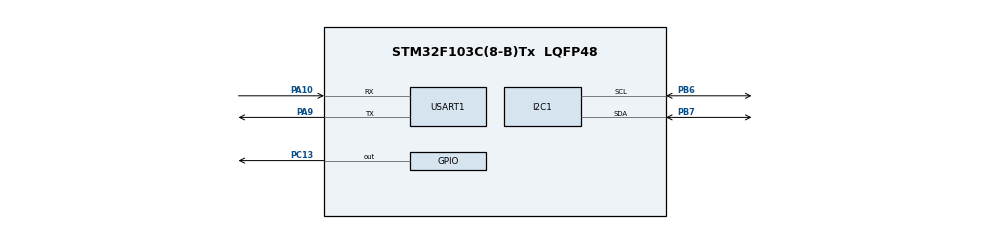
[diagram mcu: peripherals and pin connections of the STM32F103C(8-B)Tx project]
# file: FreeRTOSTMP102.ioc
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FREERTOS.BinarySemaphores01=myBinarySem01,Dynamic,NULL
FREERTOS.Queues01=myQueue01,16,queueItem_t,0,Dynamic,NULL,NULL
FREERTOS.Tasks01=ReadTemp,24,128,readTempTask,Default,NULL,Dynamic,NULL,NULL;WriteTemp,23,128,writeTempTask,Default,NULL,Dynamic,NULL,NULL
Mcu.Family=STM32F1
Mcu.Name=STM32F103C(8-B)Tx
Mcu.Package=LQFP48
NVIC.PriorityGroup=NVIC_PRIORITYGROUP_4
NVIC.TIM2_IRQn=true\:5\:0\:false\:false\:true\:true\:true\:true
NVIC.TIM3_IRQn=true\:0\:0\:false\:false\:true\:false\:false\:true
NVIC.TimeBase=TIM3_IRQn
NVIC.TimeBaseIP=TIM3
PA10.Mode=Asynchronous
PA10.Signal=USART1_RX
PA9.Mode=Asynchronous
PA9.Signal=USART1_TX
PB6.Mode=I2C
PB6.Signal=I2C1_SCL
PB7.Mode=I2C
PB7.Signal=I2C1_SDA
PC13-TAMPER-RTC.Signal=GPIO_Output
ProjectManager.HeapSize=0x200
ProjectManager.StackSize=0x400
ProjectManager.TargetToolchain=STM32CubeIDE
RCC.APB1Freq_Value=8000000
RCC.APB2Freq_Value=8000000
TIM2.Period=100 - 1
TIM2.Prescaler=8000 - 1
USART1.VirtualMode=VM_ASYNC
VP_FREERTOS_VS_CMSIS_V2.Mode=CMSIS_V2
VP_SYS_VS_ND.Mode=No_Debug
VP_SYS_VS_tim3.Mode=TIM3
VP_TIM2_VS_ClockSourceINT.Mode=Internal
board=custom

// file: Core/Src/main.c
/* USER CODE BEGIN Header */
/**
 ******************************************************************************
 * @file           : main.c
 * @brief          : Main program body
 ******************************************************************************
 * @attention
 *
 * <h2><center>&copy; Copyright (c) 2021 STMicroelectronics.
 * All rights reserved.</center></h2>
 *
 * This software component is licensed by ST under BSD 3-Clause license,
 * the "License"; You may not use this file except in compliance with the
 * License. You may obtain a copy of the License at:
 *                        opensource.org/licenses/BSD-3-Clause
 *
 ******************************************************************************
 */
/* USER CODE END Header */
#include "main.h"
#include "cmsis_os.h"

/* USER CODE BEGIN Includes */
#include <string.h>
#include <stdio.h>
/* USER CODE END Includes */

/* USER CODE BEGIN PTD */
typedef struct {
	HAL_StatusTypeDef halStatus;
	int16_t value;
} queueItem_t;
/* USER CODE END PTD */

I2C_HandleTypeDef hi2c1;

TIM_HandleTypeDef htim2;

UART_HandleTypeDef huart1;

/* Definitions for ReadTemp */
osThreadId_t ReadTempHandle;
const osThreadAttr_t ReadTemp_attributes = { .name = "ReadTemp", .priority =
		(osPriority_t) osPriorityNormal, .stack_size = 128 * 4 };
/* Definitions for WriteTemp */
osThreadId_t WriteTempHandle;
const osThreadAttr_t WriteTemp_attributes = { .name = "WriteTemp", .priority =
		(osPriority_t) osPriorityBelowNormal7, .stack_size = 128 * 4 };
/* Definitions for myQueue01 */
osMessageQueueId_t myQueue01Handle;
const osMessageQueueAttr_t myQueue01_attributes = { .name = "myQueue01" };
/* Definitions for myBinarySem01 */
osSemaphoreId_t myBinarySem01Handle;
const osSemaphoreAttr_t myBinarySem01_attributes = { .name = "myBinarySem01" };
/* USER CODE BEGIN PV */
static const uint8_t TMP102_I2C_ADDR = 0x48 << 1;
static const uint8_t TMP102_REG_ADDR = 0x00;
/* USER CODE END PV */

void SystemClock_Config(void);
static void MX_GPIO_Init(void);
static void MX_I2C1_Init(void);
static void MX_USART1_UART_Init(void);
static void MX_TIM2_Init(void);
void readTempTask(void *argument);
void writeTempTask(void *argument);

int main(void) {

	/* MCU Configuration--------------------------------------------------------*/

	/* Reset of all peripherals, Initializes the Flash interface and the Systick. */
	HAL_Init();

	/* Configure the system clock */
	SystemClock_Config();

	/* Initialize all configured peripherals */
	MX_GPIO_Init();
	MX_I2C1_Init();
	MX_USART1_UART_Init();
	MX_TIM2_Init();
	/* USER CODE BEGIN 2 */
	HAL_TIM_Base_Start_IT(&htim2);
	/* USER CODE END 2 */

	/* Init scheduler */
	osKernelInitialize();

	/* Create the semaphores(s) */
	/* creation of myBinarySem01 */
	myBinarySem01Handle = osSemaphoreNew(1, 1, &myBinarySem01_attributes);

	/* Create the queue(s) */
	/* creation of myQueue01 */
	myQueue01Handle = osMessageQueueNew(16, sizeof(queueItem_t),
			&myQueue01_attributes);

	/* Create the thread(s) */
	/* creation of ReadTemp */
	ReadTempHandle = osThreadNew(readTempTask, NULL, &ReadTemp_attributes);

	/* creation of WriteTemp */
	WriteTempHandle = osThreadNew(writeTempTask, NULL, &WriteTemp_attributes);

	/* Start scheduler */
	osKernelStart();

	/* We should never get here as control is now taken by the scheduler */
	/* Infinite loop */
	while (1) {

	}
}

void SystemClock_Config(void) {
	RCC_OscInitTypeDef RCC_OscInitStruct = { 0 };
	RCC_ClkInitTypeDef RCC_ClkInitStruct = { 0 };

	/** Initializes the RCC Oscillators according to the specified parameters
	 * in the RCC_OscInitTypeDef structure.
	 */
	RCC_OscInitStruct.OscillatorType = RCC_OSCILLATORTYPE_HSI;
	RCC_OscInitStruct.HSIState = RCC_HSI_ON;
	RCC_OscInitStruct.HSICalibrationValue = RCC_HSICALIBRATION_DEFAULT;
	RCC_OscInitStruct.PLL.PLLState = RCC_PLL_NONE;
	if (HAL_RCC_OscConfig(&RCC_OscInitStruct) != HAL_OK) {
		Error_Handler();
	}
	/** Initializes the CPU, AHB and APB buses clocks
	 */
	RCC_ClkInitStruct.ClockType = RCC_CLOCKTYPE_HCLK | RCC_CLOCKTYPE_SYSCLK
			| RCC_CLOCKTYPE_PCLK1 | RCC_CLOCKTYPE_PCLK2;
	RCC_ClkInitStruct.SYSCLKSource = RCC_SYSCLKSOURCE_HSI;
	RCC_ClkInitStruct.AHBCLKDivider = RCC_SYSCLK_DIV1;
	RCC_ClkInitStruct.APB1CLKDivider = RCC_HCLK_DIV1;
	RCC_ClkInitStruct.APB2CLKDivider = RCC_HCLK_DIV1;

	if (HAL_RCC_ClockConfig(&RCC_ClkInitStruct, FLASH_LATENCY_0) != HAL_OK) {
		Error_Handler();
	}
}

static void MX_I2C1_Init(void) {

	hi2c1.Instance = I2C1;
	hi2c1.Init.ClockSpeed = 100000;
	hi2c1.Init.DutyCycle = I2C_DUTYCYCLE_2;
	hi2c1.Init.OwnAddress1 = 0;
	hi2c1.Init.AddressingMode = I2C_ADDRESSINGMODE_7BIT;
	hi2c1.Init.DualAddressMode = I2C_DUALADDRESS_DISABLE;
	hi2c1.Init.OwnAddress2 = 0;
	hi2c1.Init.GeneralCallMode = I2C_GENERALCALL_DISABLE;
	hi2c1.Init.NoStretchMode = I2C_NOSTRETCH_DISABLE;
	if (HAL_I2C_Init(&hi2c1) != HAL_OK) {
		Error_Handler();
	}

}

static void MX_TIM2_Init(void) {

	TIM_ClockConfigTypeDef sClockSourceConfig = { 0 };
	TIM_MasterConfigTypeDef sMasterConfig = { 0 };

	htim2.Instance = TIM2;
	htim2.Init.Prescaler = 8000 - 1;
	htim2.Init.CounterMode = TIM_COUNTERMODE_UP;
	htim2.Init.Period = 100 - 1;
	htim2.Init.ClockDivision = TIM_CLOCKDIVISION_DIV1;
	htim2.Init.AutoReloadPreload = TIM_AUTORELOAD_PRELOAD_DISABLE;
	if (HAL_TIM_Base_Init(&htim2) != HAL_OK) {
		Error_Handler();
	}
	sClockSourceConfig.ClockSource = TIM_CLOCKSOURCE_INTERNAL;
	if (HAL_TIM_ConfigClockSource(&htim2, &sClockSourceConfig) != HAL_OK) {
		Error_Handler();
	}
	sMasterConfig.MasterOutputTrigger = TIM_TRGO_RESET;
	sMasterConfig.MasterSlaveMode = TIM_MASTERSLAVEMODE_DISABLE;
	if (HAL_TIMEx_MasterConfigSynchronization(&htim2, &sMasterConfig)
			!= HAL_OK) {
		Error_Handler();
	}

}

static void MX_USART1_UART_Init(void) {

	huart1.Instance = USART1;
	huart1.Init.BaudRate = 115200;
	huart1.Init.WordLength = UART_WORDLENGTH_8B;
	huart1.Init.StopBits = UART_STOPBITS_1;
	huart1.Init.Parity = UART_PARITY_NONE;
	huart1.Init.Mode = UART_MODE_TX_RX;
	huart1.Init.HwFlowCtl = UART_HWCONTROL_NONE;
	huart1.Init.OverSampling = UART_OVERSAMPLING_16;
	if (HAL_UART_Init(&huart1) != HAL_OK) {
		Error_Handler();
	}

}

static void MX_GPIO_Init(void) {
	GPIO_InitTypeDef GPIO_InitStruct = { 0 };

	/* GPIO Ports Clock Enable */
	__HAL_RCC_GPIOC_CLK_ENABLE();
	__HAL_RCC_GPIOA_CLK_ENABLE();
	__HAL_RCC_GPIOB_CLK_ENABLE();

	/*Configure GPIO pin Output Level */
	HAL_GPIO_WritePin(GPIOC, GPIO_PIN_13, GPIO_PIN_RESET);

	/*Configure GPIO pin : PC13 */
	GPIO_InitStruct.Pin = GPIO_PIN_13;
	GPIO_InitStruct.Mode = GPIO_MODE_OUTPUT_PP;
	GPIO_InitStruct.Pull = GPIO_NOPULL;
	GPIO_InitStruct.Speed = GPIO_SPEED_FREQ_LOW;
	HAL_GPIO_Init(GPIOC, &GPIO_InitStruct);

}

void readTempTask(void *argument) {
	/* USER CODE BEGIN 5 */
	queueItem_t item;
	uint8_t buf[2];

	/* Infinite loop */
	for (;;) {
		osSemaphoreAcquire(myBinarySem01Handle, osWaitForever);

		buf[0] = TMP102_REG_ADDR;
		item.halStatus = HAL_I2C_Master_Transmit(&hi2c1, TMP102_I2C_ADDR, buf,
				1, HAL_MAX_DELAY);

		if (item.halStatus == HAL_OK) {
			item.halStatus = HAL_I2C_Master_Receive(&hi2c1, TMP102_I2C_ADDR,
					buf, 2, HAL_MAX_DELAY);

			if (item.halStatus == HAL_OK) {
				item.value = ((int16_t) buf[0] << 4) | (buf[1] >> 4);

				if (item.value > 0x7FF) {
					item.value |= 0xF000;
				}

				osMessageQueuePut(myQueue01Handle, (void*) &item, 0, 0);
			}
		}
	}

	osThreadTerminate(NULL);
	/* USER CODE END 5 */
}

void writeTempTask(void *argument) {
	/* USER CODE BEGIN writeTempTask */
	queueItem_t item;
	uint8_t localBuf[16];

	/* Infinite loop */
	for (;;) {
		osMessageQueueGet(myQueue01Handle, (void*) &item, NULL, osWaitForever);

		sprintf((char*) localBuf, "%u.%02u degC\r\n", item.value >> 4,
				((item.value * 100) >> 4) % 100);

		HAL_UART_Transmit(&huart1, localBuf, strlen((char*) localBuf),
		HAL_MAX_DELAY);
	}

	osThreadTerminate(NULL);
	/* USER CODE END writeTempTask */
}

void HAL_TIM_PeriodElapsedCallback(TIM_HandleTypeDef *htim) {
	/* USER CODE BEGIN Callback 0 */
	if (htim == &htim2) {
		osSemaphoreRelease(myBinarySem01Handle);

		HAL_GPIO_TogglePin(GPIOC, GPIO_PIN_13);
	}
	/* USER CODE END Callback 0 */
	if (htim->Instance == TIM3) {
		HAL_IncTick();
	}
}

void Error_Handler(void) {
	__disable_irq();
	while (1) {
	}
}

/************************ (C) COPYRIGHT STMicroelectronics *****END OF FILE****/
